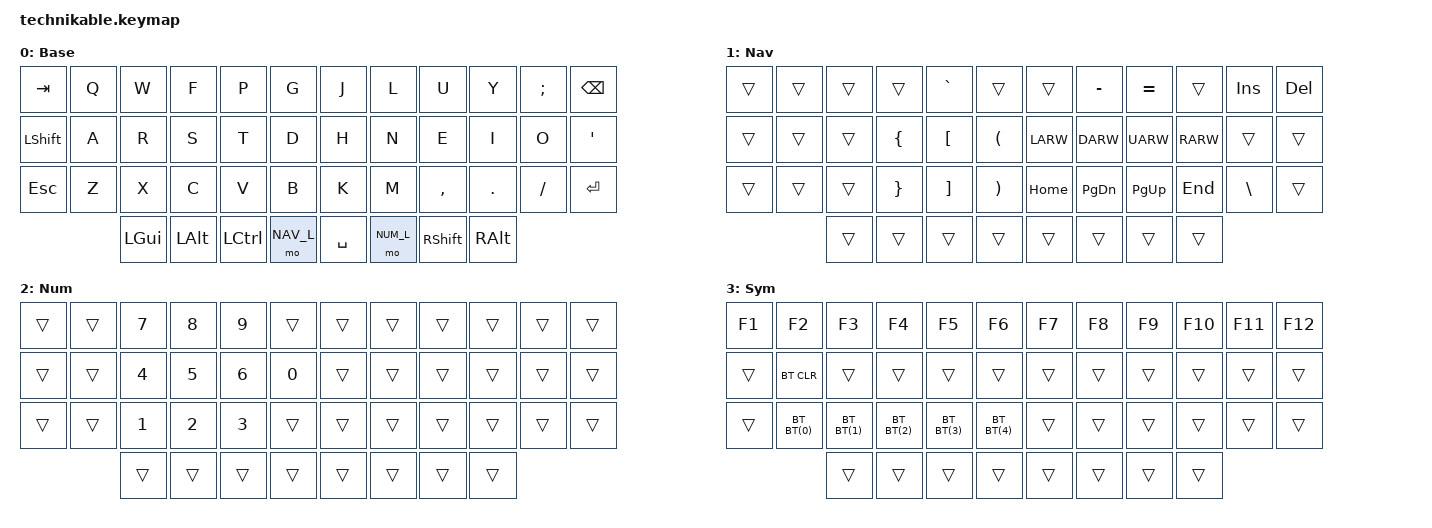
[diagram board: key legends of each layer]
/*
 * Copyright (c) 2022 Pete Johanson
 *
 * SPDX-License-Identifier: MIT
 */

#include <behaviors.dtsi>
#include <dt-bindings/zmk/keys.h>
#include <dt-bindings/zmk/bt.h>
#include <dt-bindings/zmk/outputs.h>

#define BAS_L 0
#define NAV_L 1
#define NUM_L 2
#define SYM_L 3

// Using layer taps on thumbs, having quick tap as well helps w/ repeating space/backspace
&lt { quick_tap_ms = <200>; };

#define BT(n) BT_SEL n

/ {
    chosen {
       zmk,matrix_transform =
                       &ortho_transform;
    };

    conditional_layers {
        compatible = "zmk,conditional-layers";
	tri_layer {
	    if-layers = <NAV_L NUM_L>;
	    then-layer = <SYM_L>;
	};
    };

    combos {
        compatible = "zmk,combos";
        combo_enter {
            timeout-ms = <50>;
            key-positions = <39 40>;
            bindings = <&kp RET>;
        };
    };

    keymap {
        compatible = "zmk,keymap";

        base_layer {
            label = "Base";
            bindings = <
 &kp TAB    &kp Q      &kp W      &kp F       &kp P          &kp G          &kp J            &kp L          &kp U       &kp Y      &kp SEMI     &kp BKSP
 &kp LSHFT  &kp A      &kp R      &kp S       &kp T          &kp D          &kp H            &kp N          &kp E       &kp I      &kp O        &kp QUOT
 &kp ESC    &kp Z      &kp X      &kp C       &kp V          &kp B          &kp K            &kp M          &kp COMMA   &kp DOT    &kp FSLH     &kp RET
                       &kp LGUI   &kp LALT    &kp LCTRL      &mo NAV_L      &kp SPACE        &mo NUM_L      &kp RSHFT   &kp RALT
            >;
        };

        nav_layer {
            label = "Nav";
            bindings = <
&trans     &trans     &trans     &trans      &kp GRAVE       &trans       &trans     &kp MINUS      &kp EQUAL   &trans     &kp INS    &kp DEL
&trans     &trans     &trans     &kp LBRC    &kp LBKT        &kp LPAR     &kp LARW   &kp DARW       &kp UARW    &kp RARW   &trans     &trans
&trans     &trans     &trans     &kp RBRC    &kp RBKT        &kp RPAR     &kp HOME   &kp PG_DN      &kp PG_UP   &kp END    &kp BSLH   &trans
                      &trans     &trans      &trans          &trans       &trans     &trans         &trans      &trans
            >;
        };

        num_layer {
            label = "Num";
            bindings = <
&trans     &trans     &kp N7     &kp N8      &kp N9    &trans      &trans        &trans         &trans       &trans       &trans     &trans
&trans     &trans     &kp N4     &kp N5      &kp N6    &kp N0      &trans        &trans         &trans       &trans       &trans     &trans
&trans     &trans     &kp N1     &kp N2      &kp N3    &trans      &trans        &trans         &trans       &trans       &trans     &trans
                      &trans     &trans      &trans    &trans      &trans        &trans         &trans       &trans
            >;
        };

        sym_layer {
            label = "Sym";
            bindings = <
&kp F1     &kp F2     &kp F3     &kp F4      &kp F5       &kp F6       &kp F7     &kp F8    &kp F9       &kp F10      &kp F11    &kp F12
&trans     &bt BT_CLR &trans     &trans      &trans       &trans       &trans     &trans    &trans       &trans       &trans     &trans
&trans     &bt BT(0)  &bt BT(1)  &bt BT(2)   &bt BT(3)    &bt BT(4)    &trans     &trans    &trans       &trans       &trans     &trans
                      &trans     &trans      &trans       &trans       &trans     &trans    &trans       &trans
            >;
        };

    };
};

